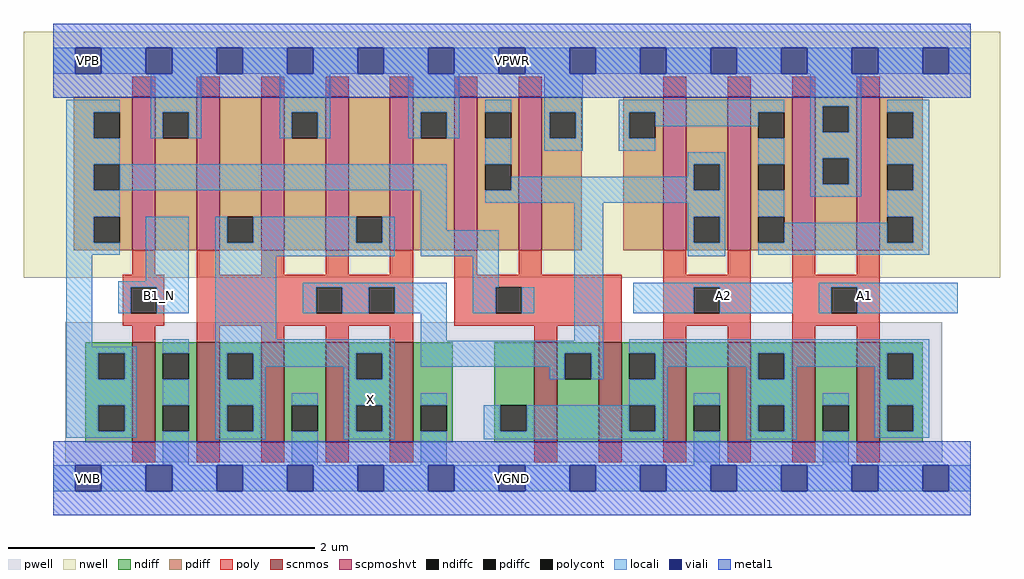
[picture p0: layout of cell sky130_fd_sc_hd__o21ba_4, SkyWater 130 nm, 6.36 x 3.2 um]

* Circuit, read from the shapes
.subckt sky130_fd_sc_hd__o21ba_4 A1 A2 B1_N VGND VNB VPB VPWR X
XM1 VGND B1_N n1 VNB sky130_fd_pr__nfet_01v8 w=0.65 l=0.15
XM2 X n2 VGND VNB sky130_fd_pr__nfet_01v8 w=0.65 l=0.15 m=4
XM3 n2 n1 n3 VNB sky130_fd_pr__nfet_01v8 w=0.65 l=0.15 m=2
XM4 VGND A2 n3 VNB sky130_fd_pr__nfet_01v8 w=0.65 l=0.15 m=2
XM5 VGND A1 n3 VNB sky130_fd_pr__nfet_01v8 w=0.65 l=0.15 m=2
XM6 VPWR B1_N n1 VPB sky130_fd_pr__pfet_01v8_hvt w=1 l=0.15
XM7 X n2 VPWR VPB sky130_fd_pr__pfet_01v8_hvt w=1 l=0.15 m=4
XM8 n2 n1 VPWR VPB sky130_fd_pr__pfet_01v8_hvt w=1 l=0.15 m=2
XM9 n2 A2 n4 VPB sky130_fd_pr__pfet_01v8_hvt w=1 l=0.15 m=2
XM10 VPWR A1 n4 VPB sky130_fd_pr__pfet_01v8_hvt w=1 l=0.15 m=2
.ends

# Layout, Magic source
magic
tech sky130A
magscale 1 2
<< nwell >>
rect -38 261 1234 582
<< pwell >>
rect 16 21 1159 203
rect 29 -17 63 21
<< scnmos >>
rect 103 47 133 177
rect 187 47 217 177
rect 271 47 301 177
rect 355 47 385 177
rect 439 47 469 177
rect 627 47 657 177
rect 711 47 741 177
rect 795 47 825 177
rect 879 47 909 177
rect 963 47 993 177
rect 1047 47 1077 177
<< scpmoshvt >>
rect 103 297 133 497
rect 187 297 217 497
rect 271 297 301 497
rect 355 297 385 497
rect 439 297 469 497
rect 523 297 553 497
rect 607 297 637 497
rect 795 297 825 497
rect 879 297 909 497
rect 963 297 993 497
rect 1047 297 1077 497
<< ndiff >>
rect 42 163 103 177
rect 42 129 59 163
rect 93 129 103 163
rect 42 95 103 129
rect 42 61 59 95
rect 93 61 103 95
rect 42 47 103 61
rect 133 163 187 177
rect 133 129 143 163
rect 177 129 187 163
rect 133 95 187 129
rect 133 61 143 95
rect 177 61 187 95
rect 133 47 187 61
rect 217 163 271 177
rect 217 129 227 163
rect 261 129 271 163
rect 217 95 271 129
rect 217 61 227 95
rect 261 61 271 95
rect 217 47 271 61
rect 301 95 355 177
rect 301 61 311 95
rect 345 61 355 95
rect 301 47 355 61
rect 385 163 439 177
rect 385 129 395 163
rect 429 129 439 163
rect 385 95 439 129
rect 385 61 395 95
rect 429 61 439 95
rect 385 47 439 61
rect 469 95 521 177
rect 469 61 479 95
rect 513 61 521 95
rect 469 47 521 61
rect 575 95 627 177
rect 575 61 583 95
rect 617 61 627 95
rect 575 47 627 61
rect 657 163 711 177
rect 657 129 667 163
rect 701 129 711 163
rect 657 47 711 129
rect 741 163 795 177
rect 741 129 751 163
rect 785 129 795 163
rect 741 95 795 129
rect 741 61 751 95
rect 785 61 795 95
rect 741 47 795 61
rect 825 95 879 177
rect 825 61 835 95
rect 869 61 879 95
rect 825 47 879 61
rect 909 163 963 177
rect 909 129 919 163
rect 953 129 963 163
rect 909 95 963 129
rect 909 61 919 95
rect 953 61 963 95
rect 909 47 963 61
rect 993 95 1047 177
rect 993 61 1003 95
rect 1037 61 1047 95
rect 993 47 1047 61
rect 1077 163 1133 177
rect 1077 129 1087 163
rect 1121 129 1133 163
rect 1077 95 1133 129
rect 1077 61 1087 95
rect 1121 61 1133 95
rect 1077 47 1133 61
<< pdiff >>
rect 27 477 103 497
rect 27 443 53 477
rect 87 443 103 477
rect 27 409 103 443
rect 27 375 53 409
rect 87 375 103 409
rect 27 341 103 375
rect 27 307 53 341
rect 87 307 103 341
rect 27 297 103 307
rect 133 477 187 497
rect 133 443 143 477
rect 177 443 187 477
rect 133 297 187 443
rect 217 341 271 497
rect 217 307 227 341
rect 261 307 271 341
rect 217 297 271 307
rect 301 477 355 497
rect 301 443 311 477
rect 345 443 355 477
rect 301 297 355 443
rect 385 341 439 497
rect 385 307 395 341
rect 429 307 439 341
rect 385 297 439 307
rect 469 477 523 497
rect 469 443 479 477
rect 513 443 523 477
rect 469 297 523 443
rect 553 477 607 497
rect 553 443 563 477
rect 597 443 607 477
rect 553 409 607 443
rect 553 375 563 409
rect 597 375 607 409
rect 553 297 607 375
rect 637 477 689 497
rect 637 443 647 477
rect 681 443 689 477
rect 637 297 689 443
rect 743 477 795 497
rect 743 443 751 477
rect 785 443 795 477
rect 743 297 795 443
rect 825 409 879 497
rect 825 375 835 409
rect 869 375 879 409
rect 825 341 879 375
rect 825 307 835 341
rect 869 307 879 341
rect 825 297 879 307
rect 909 477 963 497
rect 909 443 919 477
rect 953 443 963 477
rect 909 409 963 443
rect 909 375 919 409
rect 953 375 963 409
rect 909 341 963 375
rect 909 307 919 341
rect 953 307 963 341
rect 909 297 963 307
rect 993 485 1047 497
rect 993 451 1003 485
rect 1037 451 1047 485
rect 993 417 1047 451
rect 993 383 1003 417
rect 1037 383 1047 417
rect 993 297 1047 383
rect 1077 477 1133 497
rect 1077 443 1087 477
rect 1121 443 1133 477
rect 1077 409 1133 443
rect 1077 375 1087 409
rect 1121 375 1133 409
rect 1077 341 1133 375
rect 1077 307 1087 341
rect 1121 307 1133 341
rect 1077 297 1133 307
<< ndiffc >>
rect 59 129 93 163
rect 59 61 93 95
rect 143 129 177 163
rect 143 61 177 95
rect 227 129 261 163
rect 227 61 261 95
rect 311 61 345 95
rect 395 129 429 163
rect 395 61 429 95
rect 479 61 513 95
rect 583 61 617 95
rect 667 129 701 163
rect 751 129 785 163
rect 751 61 785 95
rect 835 61 869 95
rect 919 129 953 163
rect 919 61 953 95
rect 1003 61 1037 95
rect 1087 129 1121 163
rect 1087 61 1121 95
<< pdiffc >>
rect 53 443 87 477
rect 53 375 87 409
rect 53 307 87 341
rect 143 443 177 477
rect 227 307 261 341
rect 311 443 345 477
rect 395 307 429 341
rect 479 443 513 477
rect 563 443 597 477
rect 563 375 597 409
rect 647 443 681 477
rect 751 443 785 477
rect 835 375 869 409
rect 835 307 869 341
rect 919 443 953 477
rect 919 375 953 409
rect 919 307 953 341
rect 1003 451 1037 485
rect 1003 383 1037 417
rect 1087 443 1121 477
rect 1087 375 1121 409
rect 1087 307 1121 341
<< poly >>
rect 103 497 133 523
rect 187 497 217 523
rect 271 497 301 523
rect 355 497 385 523
rect 439 497 469 523
rect 523 497 553 523
rect 607 497 637 523
rect 795 497 825 523
rect 879 497 909 523
rect 963 497 993 523
rect 1047 497 1077 523
rect 103 265 133 297
rect 187 265 217 297
rect 271 265 301 297
rect 355 265 385 297
rect 439 265 469 297
rect 91 249 145 265
rect 91 215 101 249
rect 135 215 145 249
rect 91 199 145 215
rect 187 249 469 265
rect 187 215 343 249
rect 377 215 411 249
rect 445 215 469 249
rect 187 199 469 215
rect 523 265 553 297
rect 607 265 637 297
rect 795 265 825 297
rect 879 265 909 297
rect 523 249 741 265
rect 523 215 577 249
rect 611 215 741 249
rect 523 199 741 215
rect 103 177 133 199
rect 187 177 217 199
rect 271 177 301 199
rect 355 177 385 199
rect 439 177 469 199
rect 627 177 657 199
rect 711 177 741 199
rect 795 249 909 265
rect 795 215 835 249
rect 869 215 909 249
rect 795 199 909 215
rect 795 177 825 199
rect 879 177 909 199
rect 963 265 993 297
rect 1047 265 1077 297
rect 963 249 1077 265
rect 963 215 1014 249
rect 1048 215 1077 249
rect 963 199 1077 215
rect 963 177 993 199
rect 1047 177 1077 199
rect 103 21 133 47
rect 187 21 217 47
rect 271 21 301 47
rect 355 21 385 47
rect 439 21 469 47
rect 627 21 657 47
rect 711 21 741 47
rect 795 21 825 47
rect 879 21 909 47
rect 963 21 993 47
rect 1047 21 1077 47
<< polycont >>
rect 101 215 135 249
rect 343 215 377 249
rect 411 215 445 249
rect 577 215 611 249
rect 835 215 869 249
rect 1014 215 1048 249
<< locali >>
rect 0 527 29 561
rect 63 527 121 561
rect 155 527 213 561
rect 247 527 305 561
rect 339 527 397 561
rect 431 527 489 561
rect 523 527 581 561
rect 615 527 673 561
rect 707 527 765 561
rect 799 527 857 561
rect 891 527 949 561
rect 983 527 1041 561
rect 1075 527 1133 561
rect 1167 527 1196 561
rect 17 477 87 493
rect 17 443 53 477
rect 127 477 193 527
rect 127 443 143 477
rect 177 443 193 477
rect 295 477 361 527
rect 295 443 311 477
rect 345 443 361 477
rect 463 477 529 527
rect 463 443 479 477
rect 513 443 529 477
rect 563 477 597 493
rect 17 409 87 443
rect 563 409 597 443
rect 640 477 690 527
rect 640 443 647 477
rect 681 443 690 477
rect 640 427 690 443
rect 737 477 953 493
rect 737 443 751 477
rect 785 459 919 477
rect 737 427 785 443
rect 17 375 53 409
rect 87 375 513 409
rect 17 341 87 375
rect 17 307 53 341
rect 17 291 87 307
rect 17 171 51 291
rect 121 257 177 341
rect 85 249 177 257
rect 85 215 101 249
rect 135 215 177 249
rect 211 307 227 341
rect 261 307 395 341
rect 429 307 445 341
rect 211 289 445 307
rect 479 323 513 375
rect 827 409 876 425
rect 827 393 835 409
rect 597 375 835 393
rect 869 375 876 409
rect 563 359 876 375
rect 479 289 581 323
rect 211 181 291 289
rect 325 249 513 255
rect 325 215 343 249
rect 377 215 411 249
rect 445 215 513 249
rect 547 249 581 289
rect 547 215 577 249
rect 611 215 627 249
rect 17 163 109 171
rect 17 129 59 163
rect 93 129 109 163
rect 17 95 109 129
rect 17 61 59 95
rect 93 61 109 95
rect 17 53 109 61
rect 143 163 177 181
rect 143 95 177 129
rect 143 17 177 61
rect 211 163 445 181
rect 211 129 227 163
rect 261 145 395 163
rect 261 129 277 145
rect 211 95 277 129
rect 379 129 395 145
rect 429 129 445 163
rect 479 179 513 215
rect 679 179 717 359
rect 827 341 876 359
rect 827 307 835 341
rect 869 307 876 341
rect 827 289 876 307
rect 919 409 953 443
rect 919 341 953 375
rect 987 485 1053 527
rect 987 451 1003 485
rect 1037 451 1053 485
rect 987 417 1053 451
rect 987 383 1003 417
rect 1037 383 1053 417
rect 987 367 1053 383
rect 1087 477 1142 493
rect 1121 443 1142 477
rect 1087 409 1142 443
rect 1121 375 1142 409
rect 1087 341 1142 375
rect 953 307 1087 333
rect 1121 307 1142 341
rect 919 291 1142 307
rect 756 249 964 255
rect 756 215 835 249
rect 869 215 964 249
rect 998 249 1179 255
rect 998 215 1014 249
rect 1048 215 1179 249
rect 479 163 717 179
rect 479 145 667 163
rect 647 129 667 145
rect 701 129 717 163
rect 751 163 1142 181
rect 785 145 919 163
rect 785 129 801 145
rect 211 61 227 95
rect 261 61 277 95
rect 211 51 277 61
rect 311 95 345 111
rect 311 17 345 61
rect 379 95 445 129
rect 379 61 395 95
rect 429 61 445 95
rect 379 51 445 61
rect 479 95 513 111
rect 751 95 801 129
rect 903 129 919 145
rect 953 145 1087 163
rect 953 129 969 145
rect 479 17 513 61
rect 561 61 583 95
rect 617 61 751 95
rect 785 61 801 95
rect 561 51 801 61
rect 835 95 869 111
rect 835 17 869 61
rect 903 95 969 129
rect 1071 129 1087 145
rect 1121 129 1142 163
rect 903 61 919 95
rect 953 61 969 95
rect 903 51 969 61
rect 1003 95 1037 111
rect 1003 17 1037 61
rect 1071 95 1142 129
rect 1071 61 1087 95
rect 1121 61 1142 95
rect 1071 53 1142 61
rect 0 -17 29 17
rect 63 -17 121 17
rect 155 -17 213 17
rect 247 -17 305 17
rect 339 -17 397 17
rect 431 -17 489 17
rect 523 -17 581 17
rect 615 -17 673 17
rect 707 -17 765 17
rect 799 -17 857 17
rect 891 -17 949 17
rect 983 -17 1041 17
rect 1075 -17 1133 17
rect 1167 -17 1196 17
<< viali >>
rect 29 527 63 561
rect 121 527 155 561
rect 213 527 247 561
rect 305 527 339 561
rect 397 527 431 561
rect 489 527 523 561
rect 581 527 615 561
rect 673 527 707 561
rect 765 527 799 561
rect 857 527 891 561
rect 949 527 983 561
rect 1041 527 1075 561
rect 1133 527 1167 561
rect 29 -17 63 17
rect 121 -17 155 17
rect 213 -17 247 17
rect 305 -17 339 17
rect 397 -17 431 17
rect 489 -17 523 17
rect 581 -17 615 17
rect 673 -17 707 17
rect 765 -17 799 17
rect 857 -17 891 17
rect 949 -17 983 17
rect 1041 -17 1075 17
rect 1133 -17 1167 17
<< metal1 >>
rect 0 561 1196 592
rect 0 527 29 561
rect 63 527 121 561
rect 155 527 213 561
rect 247 527 305 561
rect 339 527 397 561
rect 431 527 489 561
rect 523 527 581 561
rect 615 527 673 561
rect 707 527 765 561
rect 799 527 857 561
rect 891 527 949 561
rect 983 527 1041 561
rect 1075 527 1133 561
rect 1167 527 1196 561
rect 0 496 1196 527
rect 0 17 1196 48
rect 0 -17 29 17
rect 63 -17 121 17
rect 155 -17 213 17
rect 247 -17 305 17
rect 339 -17 397 17
rect 431 -17 489 17
rect 523 -17 581 17
rect 615 -17 673 17
rect 707 -17 765 17
rect 799 -17 857 17
rect 891 -17 949 17
rect 983 -17 1041 17
rect 1075 -17 1133 17
rect 1167 -17 1196 17
rect 0 -48 1196 -17
<< labels >>
flabel locali s 121 221 155 255 0 FreeSans 400 180 0 0 B1_N
port 3 nsew signal input
flabel locali s 1041 221 1075 255 0 FreeSans 400 180 0 0 A1
port 1 nsew signal input
flabel locali s 857 221 891 255 0 FreeSans 400 180 0 0 A2
port 2 nsew signal input
flabel locali s 397 85 431 119 0 FreeSans 400 180 0 0 X
port 8 nsew signal output
flabel pwell s 29 -17 63 17 0 FreeSans 200 0 0 0 VNB
port 5 nsew ground bidirectional
flabel nwell s 29 527 63 561 0 FreeSans 200 0 0 0 VPB
port 6 nsew power bidirectional
flabel metal1 s 29 -17 63 17 0 FreeSans 200 0 0 0 VGND
port 4 nsew ground bidirectional abutment
flabel metal1 s 29 527 63 561 0 FreeSans 200 0 0 0 VPWR
port 7 nsew power bidirectional abutment
rlabel comment s 0 0 0 0 4 o21ba_4
rlabel metal1 s 0 -48 1196 48 1 VGND
port 4 nsew ground bidirectional abutment
rlabel metal1 s 0 496 1196 592 1 VPWR
port 7 nsew power bidirectional abutment
<< properties >>
string FIXED_BBOX 0 0 1196 544
string GDS_END 1337160
string GDS_FILE $PDKPATH/libs.ref/sky130_fd_sc_hd/gds/sky130_fd_sc_hd.gds
string GDS_START 1328160
string LEFclass CORE
string LEFsite unithd
string LEFsymmetry X Y R90
string path 0.000 0.000 5.980 0.000 
<< end >>
